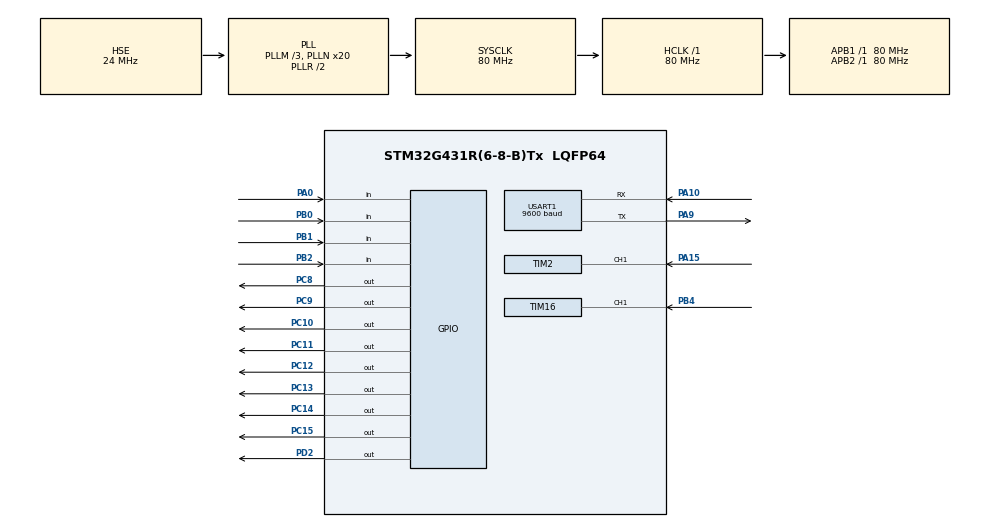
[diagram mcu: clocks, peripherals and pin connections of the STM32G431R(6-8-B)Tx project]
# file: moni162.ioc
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Mcu.Family=STM32G4
Mcu.Name=STM32G431R(6-8-B)Tx
Mcu.Package=LQFP64
NVIC.PriorityGroup=NVIC_PRIORITYGROUP_4
NVIC.TIM1_UP_TIM16_IRQn=true\:0\:0\:false\:false\:true\:true\:true\:true
NVIC.TIM2_IRQn=true\:0\:0\:false\:false\:true\:true\:true\:true
NVIC.TIM3_IRQn=true\:0\:0\:false\:false\:true\:true\:true\:true
NVIC.USART1_IRQn=true\:0\:0\:false\:false\:true\:true\:true\:true
PA0.GPIO_PuPd=GPIO_PULLUP
PA0.Signal=GPIO_Input
PA10.Mode=Asynchronous
PA10.Signal=USART1_RX
PA13.Mode=Serial_Wire
PA13.Signal=SYS_JTMS-SWDIO
PA14.Mode=Serial_Wire
PA14.Signal=SYS_JTCK-SWCLK
PA15.Signal=S_TIM2_CH1
PA9.Mode=Asynchronous
PA9.Signal=USART1_TX
PB0.GPIO_PuPd=GPIO_PULLUP
PB0.Signal=GPIO_Input
PB1.GPIO_PuPd=GPIO_PULLUP
PB1.Signal=GPIO_Input
PB2.GPIO_PuPd=GPIO_PULLUP
PB2.Signal=GPIO_Input
PB4.Signal=S_TIM16_CH1
PC10.PinState=GPIO_PIN_SET
PC10.Signal=GPIO_Output
PC11.PinState=GPIO_PIN_SET
PC11.Signal=GPIO_Output
PC12.PinState=GPIO_PIN_SET
PC12.Signal=GPIO_Output
PC13.PinState=GPIO_PIN_SET
PC13.Signal=GPIO_Output
PC14-OSC32_IN.PinState=GPIO_PIN_SET
PC14-OSC32_IN.Signal=GPIO_Output
PC15-OSC32_OUT.PinState=GPIO_PIN_SET
PC15-OSC32_OUT.Signal=GPIO_Output
PC8.PinState=GPIO_PIN_SET
PC8.Signal=GPIO_Output
PC9.PinState=GPIO_PIN_SET
PC9.Signal=GPIO_Output
PD2.PinState=GPIO_PIN_SET
PD2.Signal=GPIO_Output
PF0-OSC_IN.Mode=HSE-External-Oscillator
PF0-OSC_IN.Signal=RCC_OSC_IN
PF1-OSC_OUT.Mode=HSE-External-Oscillator
PF1-OSC_OUT.Signal=RCC_OSC_OUT
ProjectManager.HeapSize=0x200
ProjectManager.StackSize=0x400
ProjectManager.TargetToolchain=MDK-ARM V5.32
RCC.ADC12Freq_Value=80000000
RCC.AHBFreq_Value=80000000
RCC.APB1Freq_Value=80000000
RCC.APB1TimFreq_Value=80000000
RCC.APB2Freq_Value=80000000
RCC.APB2TimFreq_Value=80000000
RCC.CortexFreq_Value=80000000
RCC.EXTERNAL_CLOCK_VALUE=12288000
RCC.HCLKFreq_Value=80000000
RCC.HSE_VALUE=24000000
RCC.HSI48_VALUE=48000000
RCC.HSI_VALUE=16000000
RCC.LSE_VALUE=32768
RCC.PLLM=RCC_PLLM_DIV3
RCC.PLLN=20
RCC.PLLSourceVirtual=RCC_PLLSOURCE_HSE
RCC.SYSCLKFreq_VALUE=80000000
RCC.SYSCLKSource=RCC_SYSCLKSOURCE_PLLCLK
RCC.USBFreq_Value=80000000
RCC.VCOOutputFreq_Value=160000000
SH.S_TIM16_CH1.0=TIM16_CH1,Input_Capture1_from_TI1
SH.S_TIM2_CH1.0=TIM2_CH1,Input_Capture1_from_TI1
TIM16.Channel=TIM_CHANNEL_1
TIM16.Prescaler=80-1
TIM2.Channel-Input_Capture1_from_TI1=TIM_CHANNEL_1
TIM2.Prescaler=80-1
TIM3.PeriodNoDither=1000-1
TIM3.Prescaler=8000-1
TIM4.Prescaler=8000-1
USART1.BaudRate=9600
USART1.VirtualMode-Asynchronous=VM_ASYNC
VP_SYS_VS_DBSignals.Mode=DisableDeadBatterySignals
VP_TIM16_VS_ClockSourceINT.Mode=Enable_Timer
VP_TIM3_VS_ClockSourceINT.Mode=Internal
VP_TIM4_VS_ClockSourceINT.Mode=Internal
board=custom

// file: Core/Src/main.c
/* USER CODE BEGIN Header */
/**
  ******************************************************************************
  * @file           : main.c
  * @brief          : Main program body
  ******************************************************************************
  * @attention
  *
  * Copyright (c) 2025 STMicroelectronics.
  * All rights reserved.
  *
  * This software is licensed under terms that can be found in the LICENSE file
  * in the root directory of this software component.
  * If no LICENSE file comes with this software, it is provided AS-IS.
  *
  ******************************************************************************
  */
/* USER CODE END Header */
#include "main.h"
#include "tim.h"
#include "usart.h"
#include "gpio.h"

/* USER CODE BEGIN Includes */
#include "headfile.h"
/* USER CODE END Includes */

void SystemClock_Config(void);

int main(void)
{

  /* MCU Configuration--------------------------------------------------------*/

  /* Reset of all peripherals, Initializes the Flash interface and the Systick. */
  HAL_Init();

  /* Configure the system clock */
  SystemClock_Config();

  /* Initialize all configured peripherals */
  MX_GPIO_Init();
  MX_TIM2_Init();
  MX_TIM16_Init();
  MX_USART1_UART_Init();
  MX_TIM4_Init();
  MX_TIM3_Init();
  /* USER CODE BEGIN 2 */
	HAL_GPIO_WritePin(GPIOD, GPIO_PIN_2, GPIO_PIN_RESET);
	LCD_Init();
	LCD_Clear(Black);
	LCD_SetBackColor(Black);
	LCD_SetTextColor(White);

	HAL_TIM_IC_Start_IT(&htim16,TIM_CHANNEL_1);
	HAL_TIM_IC_Start_IT(&htim2,TIM_CHANNEL_1);

	UART_Start_Receive_IT(&huart1,&buff,1);
	HAL_TIM_Base_Start(&htim4);
	HAL_TIM_Base_Start_IT(&htim3);
  /* USER CODE END 2 */

  /* Infinite loop */
  /* USER CODE BEGIN WHILE */
  while (1)
  {
//	  printf("���");
	lcd_show();
	key_scan();
	change();
	usart_process();

    /* USER CODE END WHILE */

  }
}

void SystemClock_Config(void)
{
  RCC_OscInitTypeDef RCC_OscInitStruct = {0};
  RCC_ClkInitTypeDef RCC_ClkInitStruct = {0};

  /** Configure the main internal regulator output voltage
  */
  HAL_PWREx_ControlVoltageScaling(PWR_REGULATOR_VOLTAGE_SCALE1);

  /** Initializes the RCC Oscillators according to the specified parameters
  * in the RCC_OscInitTypeDef structure.
  */
  RCC_OscInitStruct.OscillatorType = RCC_OSCILLATORTYPE_HSE;
  RCC_OscInitStruct.HSEState = RCC_HSE_ON;
  RCC_OscInitStruct.PLL.PLLState = RCC_PLL_ON;
  RCC_OscInitStruct.PLL.PLLSource = RCC_PLLSOURCE_HSE;
  RCC_OscInitStruct.PLL.PLLM = RCC_PLLM_DIV3;
  RCC_OscInitStruct.PLL.PLLN = 20;
  RCC_OscInitStruct.PLL.PLLP = RCC_PLLP_DIV2;
  RCC_OscInitStruct.PLL.PLLQ = RCC_PLLQ_DIV2;
  RCC_OscInitStruct.PLL.PLLR = RCC_PLLR_DIV2;
  if (HAL_RCC_OscConfig(&RCC_OscInitStruct) != HAL_OK)
  {
    Error_Handler();
  }

  /** Initializes the CPU, AHB and APB buses clocks
  */
  RCC_ClkInitStruct.ClockType = RCC_CLOCKTYPE_HCLK|RCC_CLOCKTYPE_SYSCLK
                              |RCC_CLOCKTYPE_PCLK1|RCC_CLOCKTYPE_PCLK2;
  RCC_ClkInitStruct.SYSCLKSource = RCC_SYSCLKSOURCE_PLLCLK;
  RCC_ClkInitStruct.AHBCLKDivider = RCC_SYSCLK_DIV1;
  RCC_ClkInitStruct.APB1CLKDivider = RCC_HCLK_DIV1;
  RCC_ClkInitStruct.APB2CLKDivider = RCC_HCLK_DIV1;

  if (HAL_RCC_ClockConfig(&RCC_ClkInitStruct, FLASH_LATENCY_2) != HAL_OK)
  {
    Error_Handler();
  }
}

void Error_Handler(void)
{
  __disable_irq();
  while (1)
  {
  }
}
